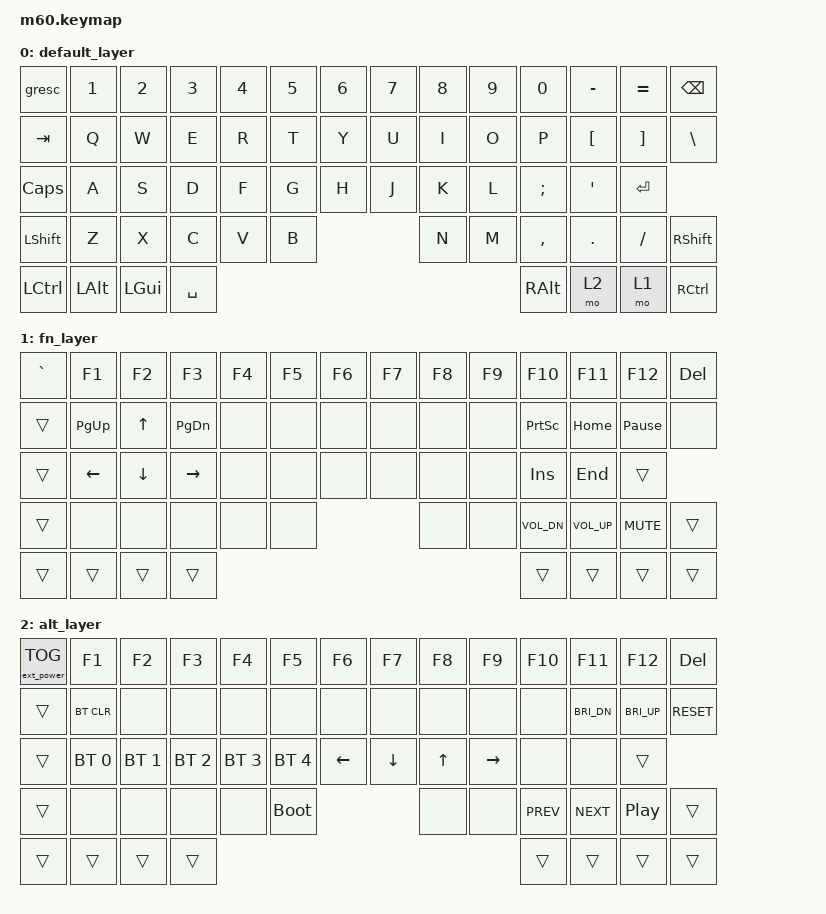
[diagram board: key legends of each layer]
/*
 * Copyright (c) 2020 The ZMK Contributors
 *
 * SPDX-License-Identifier: MIT
 */

#include <behaviors.dtsi>
#include <dt-bindings/zmk/keys.h>
#include <dt-bindings/zmk/bt.h>
#include <dt-bindings/zmk/ext_power.h>
#include <dt-bindings/zmk/outputs.h>

/ {
	keymap0: keymap {
		compatible = "zmk,keymap";

		default_layer {
// ------------------------------------------------------------------------------------------
// | ESC |  1  |  2  |  3  |  4  |  5  |  6  |  7  |  8  |  9  |  0  |  -  |  =  |   BKSP   |
// | TAB  |  Q  |  W  |  E  |  R  |  T  |  Y  |  U  |  I  |  O  |  P  |  [  |  ]  |    \    |
// | CAPS  |  A  |  S  |  D  |  F  |  G  |  H  |  J  |  K  |  L  |  ;  |  '  |     ENTER    |
// |  SHIFT  |  Z  |  X  |  C  |  V  |  B  |  N  |  M  |  ,  |  .  |  /  |      SHIFT       |
// |  CTL  |  WIN  |  ALT  |            SPACE               | ALT | MO(2) |  MO(1)  | CTRL    |
// ------------------------------------------------------------------------------------------
			bindings = <
	&gresc &kp N1 &kp N2 &kp N3 &kp N4 &kp N5 &kp N6 &kp N7 &kp   N8  &kp  N9 &kp  N0  &kp MINUS &kp EQUAL &kp BSPC
	&kp TAB  &kp Q  &kp W  &kp E  &kp R  &kp T  &kp Y  &kp U  &kp   I   &kp  O  &kp   P  &kp LBKT &kp RBKT  &kp BSLH
	&kp CAPS    &kp A  &kp S  &kp D  &kp F  &kp G  &kp H  &kp J  &kp   K   &kp  L  &kp SEMI &kp SQT           &kp RET
	&kp LSHFT  &kp Z  &kp X  &kp C  &kp V  &kp B  &kp N  &kp M  &kp COMMA &kp DOT &kp FSLH         &kp RSHFT
	&kp LCTRL &kp LALT &kp LGUI               &kp SPACE                 &kp  RALT  &mo  2  &mo 1  &kp  RCTRL
			>;
		};

		fn_layer {
			bindings = <
&kp GRAVE  &kp F1     &kp F2     &kp F3     &kp F4     &kp F5     &kp F6     &kp F7     &kp F8     &kp F9     &kp F10    &kp F11    &kp F12    &kp DEL
&trans     &kp PG_UP  &kp UP     &kp PG_DN  &none      &none      &none      &none      &none      &none      &kp PSCRN  &kp HOME   &kp PAUSE_BREAK  &none
&trans     &kp LEFT   &kp DOWN   &kp RIGHT  &none      &none      &none      &none      &none      &none      &kp INS    &kp END      &trans
&trans                &none      &none      &none      &none      &none      &none      &none   &kp C_VOL_DN  &kp C_VOL_UP &kp C_MUTE     &trans
&trans       &trans       &trans       &trans                                                                     &trans     &trans     &trans     &trans
			>;
		};

		alt_layer {
			bindings = <
&ext_power EP_TOG  &kp F1     &kp F2     &kp F3     &kp F4     &kp F5     &kp F6     &kp F7     &kp F8     &kp F9     &kp F10    &kp F11    &kp F12    &kp DEL
&trans         &bt BT_CLR &none      &none      &none      &none      &none      &none      &none      &none      &none      &kp C_BRI_DN      &kp C_BRI_UP      &kp C_RESET
&trans           &bt BT_SEL 0 &bt BT_SEL 1 &bt BT_SEL 2 &bt BT_SEL 3 &bt BT_SEL 4 &kp LEFT   &kp DOWN   &kp UP   &kp RIGHT   &none      &none      &trans
&trans                &none      &none      &none      &none      &bootloader      &none      &none      &kp C_PREV      &kp C_NEXT      &kp C_PP      &trans
&trans       &trans       &trans       &trans                                                                     &trans     &trans     &trans     &trans
			>;
		};
	};
};
